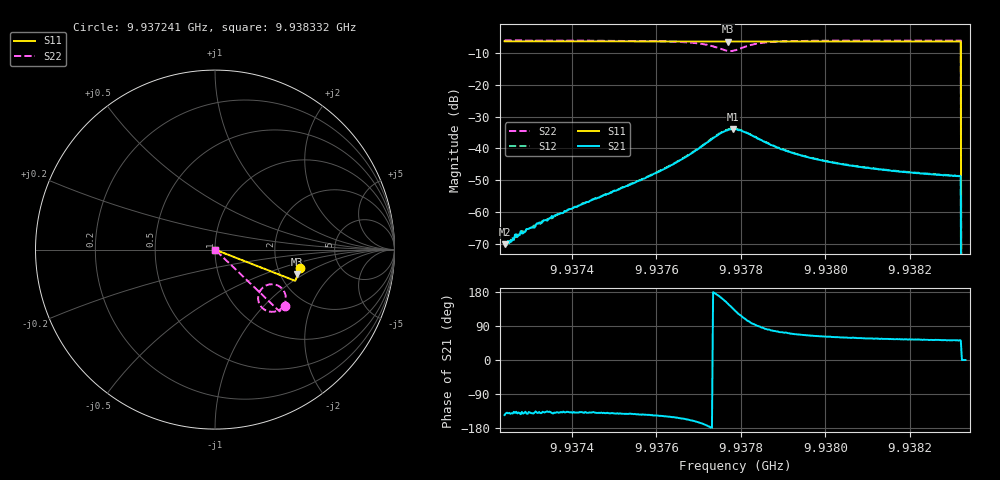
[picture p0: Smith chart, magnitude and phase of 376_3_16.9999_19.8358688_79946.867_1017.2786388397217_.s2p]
#  HZ  S  RI  R  50.00
! Rohde & Schwarz Vector Network Analyzer
! Rohde-Schwarz,ZNB20-2Port,1311601062101988,3.16
! Created: UTC 3/20/2024, 11:08:57 PM
! freq[Hz]  re:S11  im:S11  re:S21  im:S21  re:S12  im:S12  re:S22  im:S22
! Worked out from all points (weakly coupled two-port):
!   401 points, 9.937241 GHz to 9.938332 GHz, reference 50 ohm
!   highest |S21| = -33.85 dB at 9.937781 GHz (marker M1); lowest = -70.1 dB at 9.937241 GHz (marker M2)
!   lowest |S11| = -6.4 dB at 9.93777 GHz (marker M3), VSWR 2.84, Z = 123 - j44.3 ohm
!   |S11| at or under -10 dB: 9.938321 GHz to end of sweep
!   |S22| runs from - to -6.0 dB; largest |S21 - S12| = 0.00091
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9.9372407e9  0.4724 -0.1043  -0.000257 -0.000179  -0.000247 -0.000154  0.3877 -0.3127
9.9372571e9  0.4721 -0.1054  -0.000264 -0.000219  -0.000296 -0.00024  0.3867 -0.3137
9.9372652e9  0.4719 -0.106  -0.000336 -0.000286  -0.000315 -0.000249  0.3861 -0.3144
9.9372843e9  0.4714 -0.1072  -0.000361 -0.00029  -0.000393 -0.000307  0.3849 -0.3157
9.9373198e9  0.4708 -0.1096  -0.000502 -0.000425  -0.000486 -0.000465  0.3821 -0.3183
9.9374234e9  0.4687 -0.1166  -0.000976 -0.000891  -0.00105 -0.000849  0.3726 -0.3263
9.9376062e9  0.4645 -0.1289  -0.00364 -0.00233  -0.00373 -0.00234  0.341 -0.3433
9.9376662e9  0.4628 -0.1329  -0.00645 -0.00296  -0.00662 -0.00289  0.315 -0.347
9.9377125e9  0.461 -0.136  -0.0112 -0.00207  -0.0115 -0.0019  0.2767 -0.3353
9.9377507e9  0.4594 -0.1379  -0.0167 0.004  -0.0168 0.00452  0.2409 -0.2807
9.9377698e9  0.4586 -0.1383  -0.0167 0.0103  -0.0165 0.0111  0.2502 -0.2315
9.9377807e9  0.4586 -0.1385  -0.0147 0.014  -0.0144 0.0145  0.2716 -0.2077
9.9377862e9  0.4587 -0.1388  -0.0131 0.0152  -0.0128 0.0158  0.2853 -0.1995
9.9378053e9  0.459 -0.1395  -0.00695 0.0171  -0.00658 0.0176  0.3345 -0.1947
9.9378435e9  0.4589 -0.1422  0.000316 0.014  0.000832 0.014  0.385 -0.2333
9.9379007e9  0.4581 -0.1465  0.00292 0.00918  0.0031 0.00911  0.3942 -0.2773
9.9379689e9  0.4564 -0.1513  0.00304 0.00632  0.00321 0.00632  0.3882 -0.3021
9.9380508e9  0.4544 -0.1566  0.0028 0.00471  0.00298 0.00476  0.38 -0.3179
9.9381517e9  0.4516 -0.1632  0.00259 0.00372  0.00265 0.0037  0.3712 -0.3299
9.9383153e9  0.447 -0.1736  0.00228 0.00285  0.00234 0.00289  0.3594 -0.3436
9.938329e9  0 0  0 0  0 0  0 0
9.9383317e9  0 0  0 0  0 0  0 0
